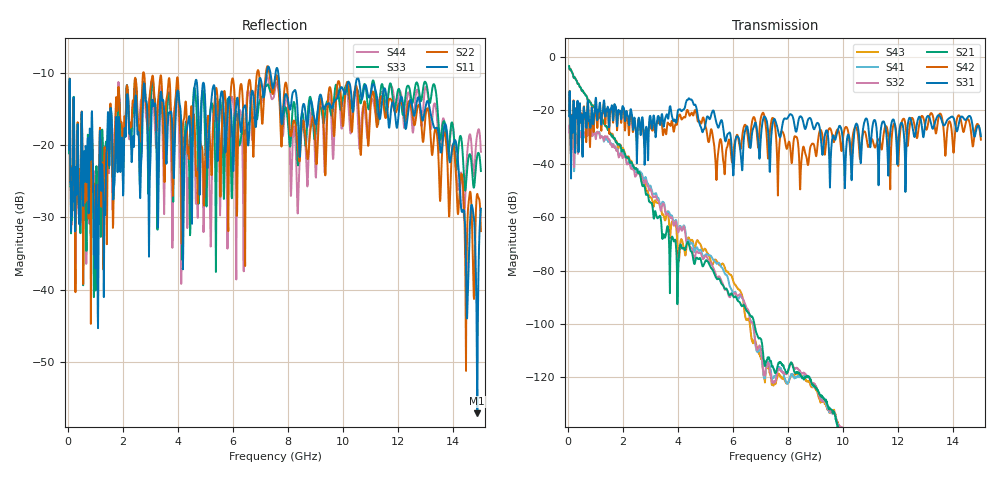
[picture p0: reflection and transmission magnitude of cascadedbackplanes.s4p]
!	The ports are defined by
!	Port 1 -----> |  | -----> Port 2
!  |  DUT	|
!	Port 3 -----> |  | -----> Port 4
# MHz S DB R 50
! S-Parameters data
!  dbS11  angS11  dbS12  angS12  dbS13  angS13  dbS14  angS14
!  dbS21  angS21  dbS22  angS22  dbS23  angS23  dbS24  angS24
!  dbS31  angS31  dbS32  angS32  dbS33  angS33  dbS34  angS34
!  dbS41  angS41  dbS42  angS42  dbS43  angS43  dbS44  angS44
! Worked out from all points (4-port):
!   1496 points, 50 MHz to 15 GHz, reference 50 ohm
!   strongest paths, dB at 50 MHz, 3.79 GHz, 7.53 GHz, 11.27 GHz, 15 GHz:
!     S31: -22.2, -22.5, -23.7, -40.2, -29.7
!     S42: -22.0, -24.1, -26.3, -31.0, -31.0
!     S21: -3.5, -67.3, -118.3, -156.9, -191.8
!     S32: -28.4, -60.3, -121.5, -157.5, -190.1
!     S41: -27.7, -59.6, -119.8, -163.8, -198.8
!     S43: -3.5, -61.7, -122.6, -164.7, -196.4
!   lowest |S11| = -57.1 dB at 14.87 GHz (marker M1), VSWR 1.00, Z = 50.1 + j0.101 ohm
!   |S11| at or under -10 dB: start of sweep to 7.227 GHz; 7.359 GHz to 7.547 GHz (187.2 MHz wide, 2.51 % of centre); 7.644 GHz to end of sweep
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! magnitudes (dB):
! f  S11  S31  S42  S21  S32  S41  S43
! 50 MHz  -20.6  -22.2  -22.0  -3.5  -28.4  -27.7  -3.5
! 1.05 GHz  -27.3  -20.3  -21.9  -20.8  -28.4  -28.3  -20.6
! 4 GHz  -12.4  -20.1  -23.5  -83.0  -65.6  -64.8  -74.3
! 6.01 GHz  -23.6  -44.4  -36.1  -89.7  -89.1  -88.8  -84.0
! 13.07 GHz  -13.9  -22.1  -25.7  -188.5  -190.5  -191.8  -195.8
! 14.87 GHz  -57.1  -26.1  -25.1  -188.6  -184.1  -195.1  -193.2
! 15 GHz  -28.8  -29.7  -31.0  -191.8  -190.1  -198.8  -196.4
